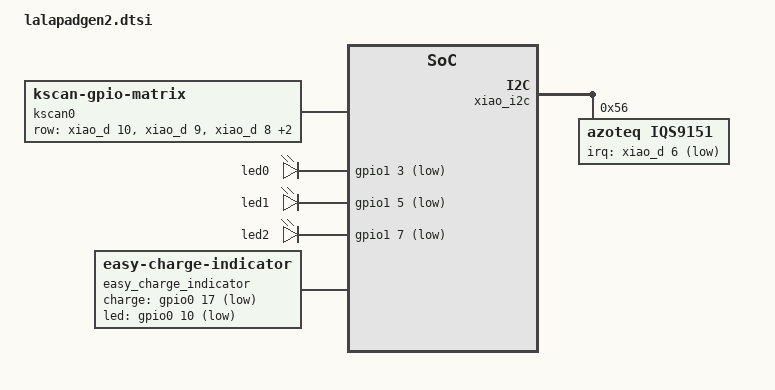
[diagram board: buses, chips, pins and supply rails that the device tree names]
// Hardware that only the physical keyboard halves have. Shared logic (matrix
// transform, trackpad input-splits / listeners / processors, physical layout)
// lives in lalapadgen2-common.dtsi, which the dongle also includes.
#include "lalapadgen2-common.dtsi"

/ {
    kscan0: kscan {
        compatible = "zmk,kscan-gpio-matrix";
        wakeup-source;

        diode-direction = "col2row";
        row-gpios
            = <&xiao_d 10 (GPIO_ACTIVE_HIGH | GPIO_PULL_DOWN)>
            , <&xiao_d 9 (GPIO_ACTIVE_HIGH | GPIO_PULL_DOWN)>
            , <&xiao_d 8 (GPIO_ACTIVE_HIGH | GPIO_PULL_DOWN)>
            , <&xiao_d 7 (GPIO_ACTIVE_HIGH | GPIO_PULL_DOWN)>
            , <&gpio1  1 (GPIO_ACTIVE_HIGH | GPIO_PULL_DOWN)>
            ;
    };

    aliases {
        led-red = &led0;
        led-green = &led1;
        led-blue = &led2;
    };

    leds {
        compatible = "gpio-leds";
        status = "okay";
        led0: led_0 {
            gpios = <&gpio1 3 GPIO_ACTIVE_LOW>;  // red LED, connected to P1.03
        };
        led1: led_1 {
            gpios = <&gpio1 5 GPIO_ACTIVE_LOW>;  // green LED, connected to P1.05
        };
        led2: led_2 {
            gpios = <&gpio1 7 GPIO_ACTIVE_LOW>;  // blue LED, connected to P1.07
        };
    };

    easy_charge_indicator: easy_charge_indicator {
        compatible = "zmk,easy-charge-indicator";
        status = "okay";
        charge-gpios = <&gpio0 17 GPIO_ACTIVE_LOW>;
        led-gpios = <&gpio0 10 (GPIO_ACTIVE_LOW | GPIO_OPEN_DRAIN)>;
   };
};

// TrackPad on I2C
&xiao_i2c {
status = "okay";

    iqs9151: iqs9151@56 {
        compatible = "azoteq,iqs9151";
        reg = <0x56>;
        status = "okay";
        irq-gpios = <&xiao_d 6 (GPIO_ACTIVE_LOW | GPIO_PULL_UP)>;
    };
};
